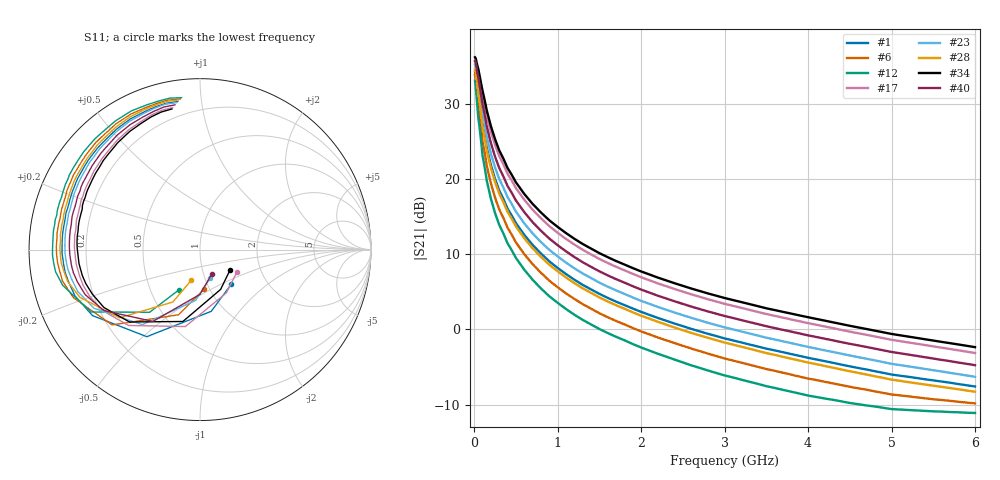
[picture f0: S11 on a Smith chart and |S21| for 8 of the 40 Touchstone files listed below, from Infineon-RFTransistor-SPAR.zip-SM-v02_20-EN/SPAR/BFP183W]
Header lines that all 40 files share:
! Infineon Technologies  Discrete & RF Semiconductors
! BFP183W
! Common Emitter S-Parameters:  Jan 2017
# GHz  S  MA  R  50
!  f  S11  S21  S12  S22
! GHz  MAG  ANG  MAG  ANG  MAG  ANG  MAG  ANG
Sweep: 10 MHz to 6 GHz
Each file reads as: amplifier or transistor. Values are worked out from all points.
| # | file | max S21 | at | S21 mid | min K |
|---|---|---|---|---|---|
| 1 | BFP183W_VCE_1.0V_IC_37mA.s2p | 34.3 dB | 10 MHz | 1.5 dB at 2.2 GHz | 0.37 |
| 2 | BFP183W_VCE_1.0V_IC_39mA.s2p | 34.2 dB | 10 MHz | 1.0 dB at 2.2 GHz | 0.40 |
| 3 | BFP183W_VCE_1.0V_IC_40mA.s2p | 34.2 dB | 10 MHz | 0.7 dB at 2.2 GHz | 0.40 |
| 4 | BFP183W_VCE_1.0V_IC_43mA.s2p | 34.1 dB | 10 MHz | 0.0 dB at 2.2 GHz | 0.43 |
| 5 | BFP183W_VCE_1.0V_IC_45mA.s2p | 34.0 dB | 10 MHz | -0.4 dB at 2.2 GHz | 0.46 |
| 6 | BFP183W_VCE_1.0V_IC_48mA.s2p | 33.8 dB | 10 MHz | -1.1 dB at 2.2 GHz | 0.48 |
| 7 | BFP183W_VCE_1.0V_IC_50mA.s2p | 33.7 dB | 10 MHz | -1.5 dB at 2.2 GHz | 0.49 |
| 8 | BFP183W_VCE_1.0V_IC_52mA.s2p | 33.6 dB | 10 MHz | -1.9 dB at 2.2 GHz | 0.52 |
| 9 | BFP183W_VCE_1.0V_IC_54mA.s2p | 33.5 dB | 10 MHz | -2.2 dB at 2.2 GHz | 0.52 |
| 10 | BFP183W_VCE_1.0V_IC_55mA.s2p | 33.4 dB | 10 MHz | -2.4 dB at 2.2 GHz | 0.53 |
| 11 | BFP183W_VCE_1.0V_IC_59mA.s2p | 33.2 dB | 10 MHz | -3.1 dB at 2.2 GHz | 0.55 |
| 12 | BFP183W_VCE_1.0V_IC_60mA.s2p | 33.1 dB | 10 MHz | -3.2 dB at 2.2 GHz | 0.58 |
| 13 | BFP183W_VCE_1.0V_IC_63mA.s2p | 32.9 dB | 10 MHz | -3.7 dB at 2.2 GHz | 0.59 |
| 14 | BFP183W_VCE_1.0V_IC_65mA.s2p | 32.8 dB | 10 MHz | -4.0 dB at 2.2 GHz | 0.60 |
| 15 | BFP183W_VCE_2.0V_IC_37mA.s2p | 35.6 dB | 10 MHz | 6.8 dB at 2.2 GHz | 0.26 |
| 16 | BFP183W_VCE_2.0V_IC_39mA.s2p | 35.7 dB | 10 MHz | 6.4 dB at 2.2 GHz | 0.28 |
| 17 | BFP183W_VCE_2.0V_IC_40mA.s2p | 35.7 dB | 10 MHz | 6.1 dB at 2.2 GHz | 0.28 |
| 18 | BFP183W_VCE_2.0V_IC_43mA.s2p | 35.6 dB | 10 MHz | 5.4 dB at 2.2 GHz | 0.33 |
| 19 | BFP183W_VCE_2.0V_IC_45mA.s2p | 35.6 dB | 10 MHz | 4.9 dB at 2.2 GHz | 0.34 |
| 20 | BFP183W_VCE_2.0V_IC_48mA.s2p | 35.5 dB | 10 MHz | 4.2 dB at 2.2 GHz | 0.40 |
| 21 | BFP183W_VCE_2.0V_IC_50mA.s2p | 35.4 dB | 10 MHz | 3.8 dB at 2.2 GHz | 0.40 |
| 22 | BFP183W_VCE_2.0V_IC_52mA.s2p | 35.3 dB | 10 MHz | 3.4 dB at 2.2 GHz | 0.42 |
| 23 | BFP183W_VCE_2.0V_IC_54mA.s2p | 35.2 dB | 10 MHz | 3.0 dB at 2.2 GHz | 0.45 |
| 24 | BFP183W_VCE_2.0V_IC_55mA.s2p | 35.2 dB | 10 MHz | 2.8 dB at 2.2 GHz | 0.46 |
| 25 | BFP183W_VCE_2.0V_IC_59mA.s2p | 35.0 dB | 10 MHz | 2.0 dB at 2.2 GHz | 0.49 |
| 26 | BFP183W_VCE_2.0V_IC_60mA.s2p | 34.9 dB | 10 MHz | 1.9 dB at 2.2 GHz | 0.53 |
| 27 | BFP183W_VCE_2.0V_IC_63mA.s2p | 34.7 dB | 10 MHz | 1.3 dB at 2.2 GHz | 0.57 |
| 28 | BFP183W_VCE_2.0V_IC_65mA.s2p | 34.6 dB | 10 MHz | 1.0 dB at 2.2 GHz | 0.54 |
| 29 | BFP183W_VCE_3.0V_IC_37mA.s2p | 36.0 dB | 10 MHz | 8.7 dB at 2.2 GHz | 0.19 |
| 30 | BFP183W_VCE_3.0V_IC_39mA.s2p | 36.1 dB | 10 MHz | 8.4 dB at 2.2 GHz | 0.22 |
| 31 | BFP183W_VCE_3.0V_IC_40mA.s2p | 36.1 dB | 10 MHz | 8.3 dB at 2.2 GHz | 0.22 |
| 32 | BFP183W_VCE_3.0V_IC_43mA.s2p | 36.2 dB | 10 MHz | 7.8 dB at 2.2 GHz | 0.25 |
| 33 | BFP183W_VCE_3.0V_IC_45mA.s2p | 36.2 dB | 10 MHz | 7.5 dB at 2.2 GHz | 0.28 |
| 34 | BFP183W_VCE_3.0V_IC_48mA.s2p | 36.2 dB | 10 MHz | 6.9 dB at 2.2 GHz | 0.29 |
| 35 | BFP183W_VCE_3.0V_IC_50mA.s2p | 36.2 dB | 10 MHz | 6.5 dB at 2.2 GHz | 0.33 |
| 36 | BFP183W_VCE_3.0V_IC_52mA.s2p | 36.1 dB | 10 MHz | 6.1 dB at 2.2 GHz | 0.34 |
| 37 | BFP183W_VCE_3.0V_IC_54mA.s2p | 36.0 dB | 10 MHz | 5.7 dB at 2.2 GHz | 0.37 |
| 38 | BFP183W_VCE_3.0V_IC_55mA.s2p | 36.0 dB | 10 MHz | 5.5 dB at 2.2 GHz | 0.38 |
| 39 | BFP183W_VCE_3.0V_IC_59mA.s2p | 35.8 dB | 10 MHz | 4.7 dB at 2.2 GHz | 0.41 |
| 40 | BFP183W_VCE_3.0V_IC_60mA.s2p | 35.7 dB | 10 MHz | 4.5 dB at 2.2 GHz | 0.43 |

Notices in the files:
Hoja de datos/BFP 450/Infineon-RFTransistor-SPAR.zip-SM-v02_20-EN/SPAR/BFP183W/BFP183W_VCE_1.0V_IC_37mA.s2p:
(c) 2017  Infineon Technologies AG, Munich
